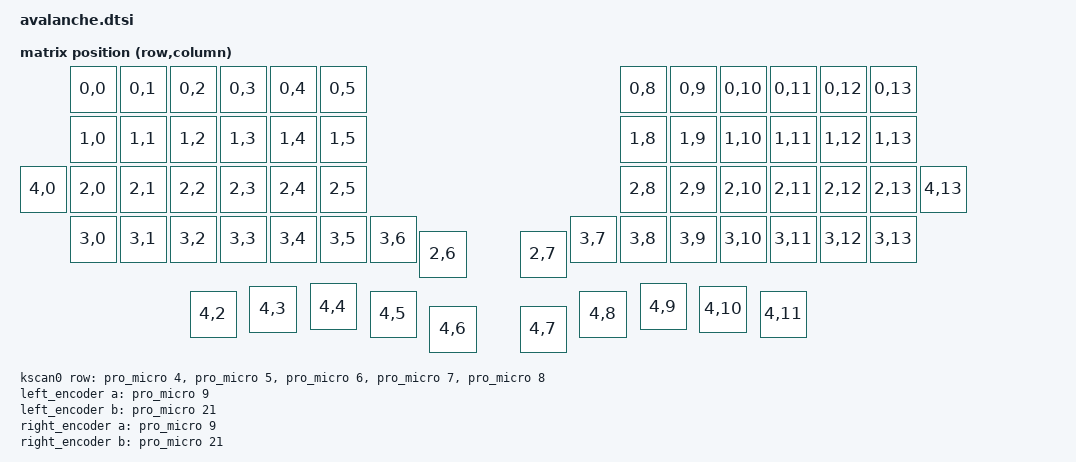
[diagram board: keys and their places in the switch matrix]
#include <dt-bindings/zmk/matrix_transform.h>
#include <dt-bindings/led/led.h>
#include <physical_layouts.dtsi>

&pinctrl {
    spi3_default: spi3_default {
        group1 {
            psels = <NRF_PSEL(SPIM_MOSI, 0, 6)>;
        };
    };

    spi3_sleep: spi3_sleep {
        group1 {
            psels = <NRF_PSEL(SPIM_MOSI, 0, 6)>;
            low-power-enable;
        };
    };
};

&spi3 {
  status = "okay";
  pinctrl-0 = <&spi3_default>;
  pinctrl-1 = <&spi3_sleep>;
  pinctrl-names = "default", "sleep";

  led_strip: ws2812@0 {
    compatible = "worldsemi,ws2812-spi";
    label = "WS2812";

    /* SPI */
    reg = <0>;
    spi-max-frequency = <5250000>;

    /* WS2812 */
    chain-length = <38>; /* number of LEDs */
    spi-one-frame = <0x70>; /* make sure to configure this properly for your SOC */
    spi-zero-frame = <0x40>; /* make sure to configure this properly for your SOC */
    color-mapping = <LED_COLOR_ID_GREEN
                          LED_COLOR_ID_RED
                          LED_COLOR_ID_BLUE>;
  };
};

/ {
    chosen {
        zmk,underglow = &led_strip;
        zephyr,display = &oled;
        zmk,kscan = &kscan0;
        zmk,physical-layout = &avalanche_layout;
    };

    avalanche_layout: avalanche_layout {
        compatible = "zmk,physical-layout";
        display-name = "Avalanche";
        transform = <&default_transform>;
        keys
            = <&key_physical_attrs 100 100  100   0 0 0 0>
            , <&key_physical_attrs 100 100  200   0 0 0 0>
            , <&key_physical_attrs 100 100  300   0 0 0 0>
            , <&key_physical_attrs 100 100  400   0 0 0 0>
            , <&key_physical_attrs 100 100  500   0 0 0 0>
            , <&key_physical_attrs 100 100  600   0 0 0 0>
            , <&key_physical_attrs 100 100 1200   0 0 0 0>
            , <&key_physical_attrs 100 100 1300   0 0 0 0>
            , <&key_physical_attrs 100 100 1400   0 0 0 0>
            , <&key_physical_attrs 100 100 1500   0 0 0 0>
            , <&key_physical_attrs 100 100 1600   0 0 0 0>
            , <&key_physical_attrs 100 100 1700   0 0 0 0>
            , <&key_physical_attrs 100 100  100 100 0 0 0>
            , <&key_physical_attrs 100 100  200 100 0 0 0>
            , <&key_physical_attrs 100 100  300 100 0 0 0>
            , <&key_physical_attrs 100 100  400 100 0 0 0>
            , <&key_physical_attrs 100 100  500 100 0 0 0>
            , <&key_physical_attrs 100 100  600 100 0 0 0>
            , <&key_physical_attrs 100 100 1200 100 0 0 0>
            , <&key_physical_attrs 100 100 1300 100 0 0 0>
            , <&key_physical_attrs 100 100 1400 100 0 0 0>
            , <&key_physical_attrs 100 100 1500 100 0 0 0>
            , <&key_physical_attrs 100 100 1600 100 0 0 0>
            , <&key_physical_attrs 100 100 1700 100 0 0 0>
            , <&key_physical_attrs 100 100    0 200 0 0 0>
            , <&key_physical_attrs 100 100  100 200 0 0 0>
            , <&key_physical_attrs 100 100  200 200 0 0 0>
            , <&key_physical_attrs 100 100  300 200 0 0 0>
            , <&key_physical_attrs 100 100  400 200 0 0 0>
            , <&key_physical_attrs 100 100  500 200 0 0 0>
            , <&key_physical_attrs 100 100  600 200 0 0 0>
            , <&key_physical_attrs 100 100 1200 200 0 0 0>
            , <&key_physical_attrs 100 100 1300 200 0 0 0>
            , <&key_physical_attrs 100 100 1400 200 0 0 0>
            , <&key_physical_attrs 100 100 1500 200 0 0 0>
            , <&key_physical_attrs 100 100 1600 200 0 0 0>
            , <&key_physical_attrs 100 100 1700 200 0 0 0>
            , <&key_physical_attrs 100 100 1800 200 0 0 0>
            , <&key_physical_attrs 100 100  100 300 0 0 0>
            , <&key_physical_attrs 100 100  200 300 0 0 0>
            , <&key_physical_attrs 100 100  300 300 0 0 0>
            , <&key_physical_attrs 100 100  400 300 0 0 0>
            , <&key_physical_attrs 100 100  500 300 0 0 0>
            , <&key_physical_attrs 100 100  600 300 0 0 0>
            , <&key_physical_attrs 100 100  700 300 0 0 0>
            , <&key_physical_attrs 100 100  800 330 0 0 0>
            , <&key_physical_attrs 100 100 1000 330 0 0 0>
            , <&key_physical_attrs 100 100 1100 300 0 0 0>
            , <&key_physical_attrs 100 100 1200 300 0 0 0>
            , <&key_physical_attrs 100 100 1300 300 0 0 0>
            , <&key_physical_attrs 100 100 1400 300 0 0 0>
            , <&key_physical_attrs 100 100 1500 300 0 0 0>
            , <&key_physical_attrs 100 100 1600 300 0 0 0>
            , <&key_physical_attrs 100 100 1700 300 0 0 0>
            , <&key_physical_attrs 100 100  340 450 0 0 0>
            , <&key_physical_attrs 100 100  460 440 0 0 0>
            , <&key_physical_attrs 100 100  580 435 0 0 0>
            , <&key_physical_attrs 100 100  700 450 0 0 0>
            , <&key_physical_attrs 100 100  820 480 0 0 0>
            , <&key_physical_attrs 100 100 1000 480 0 0 0>
            , <&key_physical_attrs 100 100 1120 450 0 0 0>
            , <&key_physical_attrs 100 100 1240 435 0 0 0>
            , <&key_physical_attrs 100 100 1360 440 0 0 0>
            , <&key_physical_attrs 100 100 1480 450 0 0 0>
            ;
    };

    default_transform: keymap_transform_0 {
        compatible = "zmk,matrix-transform";
        columns = <14>;
        rows = <5>;
//        | SW1  | SW2  | SW3  | SW4  | SW5  | SW6  |
//        | SW7  | SW8  | SW9  | SW10 | SW11 | SW12 |
// | SW27 | SW13 | SW14 | SW15 | SW16 | SW17 | SW18 |
//        | SW20 | SW21 | SW22 | SW23 | SW24 | SW25 | SW26 | SW19 |
//                             | SW28 | SW29 | SW30 | SW31 | SW32 |
        map = <
          RC(0,0) RC(0,1) RC(0,2) RC(0,3) RC(0,4) RC(0,5)                                   RC(0,8) RC(0,9) RC(0,10) RC(0,11) RC(0,12) RC(0,13)
          RC(1,0) RC(1,1) RC(1,2) RC(1,3) RC(1,4) RC(1,5)                                   RC(1,8) RC(1,9) RC(1,10) RC(1,11) RC(1,12) RC(1,13) 
  RC(4,0) RC(2,0) RC(2,1) RC(2,2) RC(2,3) RC(2,4) RC(2,5)                                   RC(2,8) RC(2,9) RC(2,10) RC(2,11) RC(2,12) RC(2,13) RC(4,13)
          RC(3,0) RC(3,1) RC(3,2) RC(3,3) RC(3,4) RC(3,5) RC(3,6) RC(2,6)   RC(2,7) RC(3,7) RC(3,8) RC(3,9) RC(3,10) RC(3,11) RC(3,12) RC(3,13)
                                  RC(4,2) RC(4,3) RC(4,4) RC(4,5) RC(4,6)   RC(4,7) RC(4,8) RC(4,9) RC(4,10) RC(4,11)
        >;
    };

    kscan0: kscan {
        compatible = "zmk,kscan-gpio-matrix";
        label = "KSCAN";

        diode-direction = "col2row";
        // #define MATRIX_ROW_PINS { D4, C6, D7, E6, B4 }
        row-gpios
            = <&pro_micro 4 (GPIO_ACTIVE_HIGH | GPIO_PULL_DOWN)>
            , <&pro_micro 5 (GPIO_ACTIVE_HIGH | GPIO_PULL_DOWN)> 
            , <&pro_micro 6 (GPIO_ACTIVE_HIGH | GPIO_PULL_DOWN)>
            , <&pro_micro 7 (GPIO_ACTIVE_HIGH | GPIO_PULL_DOWN)>
            , <&pro_micro 8 (GPIO_ACTIVE_HIGH | GPIO_PULL_DOWN)>
            ;

    };

    left_encoder: encoder_left {
        compatible = "alps,ec11";
        label = "LEFT_ENCODER";
        a-gpios = <&pro_micro 9 (GPIO_ACTIVE_HIGH | GPIO_PULL_UP)>;
        b-gpios = <&pro_micro 21 (GPIO_ACTIVE_HIGH | GPIO_PULL_UP)>;
        resolution = <4>;
        status = "disabled";
    };

    right_encoder: encoder_right {
        compatible = "alps,ec11";
        label = "RIGHT_ENCODER";
        a-gpios = <&pro_micro 9 (GPIO_ACTIVE_HIGH | GPIO_PULL_UP)>;
        b-gpios = <&pro_micro 21 (GPIO_ACTIVE_HIGH | GPIO_PULL_UP)>;
        resolution = <4>;
        status = "disabled";
    };

    sensors {
        compatible = "zmk,keymap-sensors";
        sensors = <&left_encoder &right_encoder>;
    };
};

&pro_micro_i2c {
    status = "okay";

    oled: ssd1306@3c {
        compatible = "solomon,ssd1306fb";
        reg = <0x3c>;
        label = "DISPLAY";
        width = <128>;
        height = <64>;
        segment-offset = <0>;
        page-offset = <0>;
        display-offset = <0>;
        multiplex-ratio = <63>;
        segment-remap;
        com-invdir;
        com-sequential;
        prechargep = <0x22>;
    };
};
